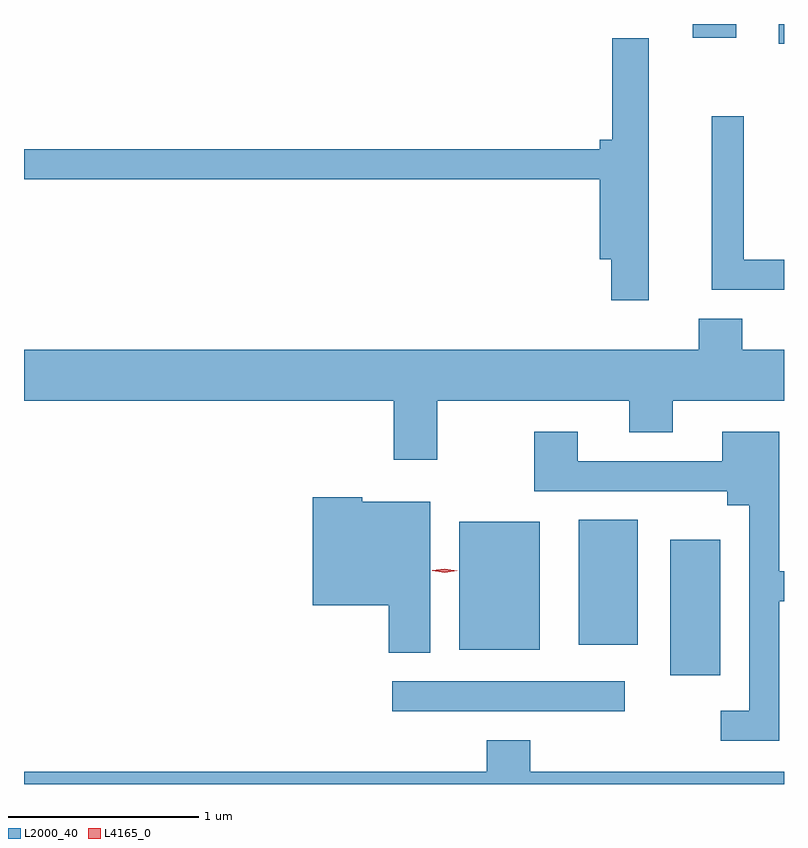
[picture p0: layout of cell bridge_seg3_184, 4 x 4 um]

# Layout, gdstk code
import gdstk
lib = gdstk.Library(unit=1e-6, precision=1e-09)
def R(c, l, rs):  # rectangles x0, y0, x1, y1
    for r in rs: c.add(gdstk.rectangle(r[:2], r[2:], *l))
def P(c, l, *ps):  # polygons
    for p in ps: c.add(gdstk.Polygon(p, *l))
L2000_40 = (2000, 40)
L4165_0 = (4165, 0)

bridge_seg3_184 = lib.new_cell('bridge_seg3_184')
R(bridge_seg3_184, L2000_40, [(768.463,1171.001,769.688,1171.159), (769.926,1171.191,770.189,1171.904), (768.816,1171.326,769.239,1171.999), (769.446,1171.351,769.754,1172.009), (770.498,1174.516,770.525,1174.619), (770.046,1174.546,770.274,1174.619)])
P(bridge_seg3_184, L2000_40, [(769.814,1174.544),(769.621,1174.544),(769.621,1174.009),(769.556,1174.009),(769.556,1173.959),(766.525,1173.959),(766.525,1173.801),(769.556,1173.801),(769.556,1173.381),(769.616,1173.381),(769.616,1173.166),(769.814,1173.166)],
  [(770.525,1173.379),(770.314,1173.379),(770.314,1174.133),(770.146,1174.133),(770.146,1173.221),(770.525,1173.221)],
  [(768.699,1172.636),(769.711,1172.636),(769.711,1172.471),(769.939,1172.471),(769.939,1172.636),(770.525,1172.636),(770.525,1172.904),(770.304,1172.904),(770.304,1173.069),(770.076,1173.069),(770.076,1172.904),(766.525,1172.904),(766.525,1172.636),(768.471,1172.636),(768.471,1172.326),(768.699,1172.326)],
  [(770.499,1171.581),(770.525,1171.581),(770.525,1171.739),(770.499,1171.739),(770.499,1172.474),(770.201,1172.474),(770.201,1172.319),(769.439,1172.319),(769.439,1172.474),(769.211,1172.474),(769.211,1172.161),(770.226,1172.161),(770.226,1172.086),(770.341,1172.086),(770.341,1171.004),(770.193,1171.004),(770.193,1170.846),(770.499,1170.846)],
  [(768.664,1172.104),(768.304,1172.104),(768.304,1172.129),(768.046,1172.129),(768.046,1171.561),(768.446,1171.561),(768.446,1171.311),(768.664,1171.311)],
  [(770.525,1170.684),(769.189,1170.684),(769.189,1170.849),(768.961,1170.849),(768.961,1170.684),(766.525,1170.684),(766.525,1170.619),(770.525,1170.619)])
P(bridge_seg3_184, L4165_0, [(768.74,1171.732),(768.674,1171.742),(768.674,1171.743),(768.674,1171.744),(768.74,1171.752),(768.806,1171.742),(768.806,1171.742),(768.806,1171.741)])

lib.write_gds('bridge_seg3_184.gds')
